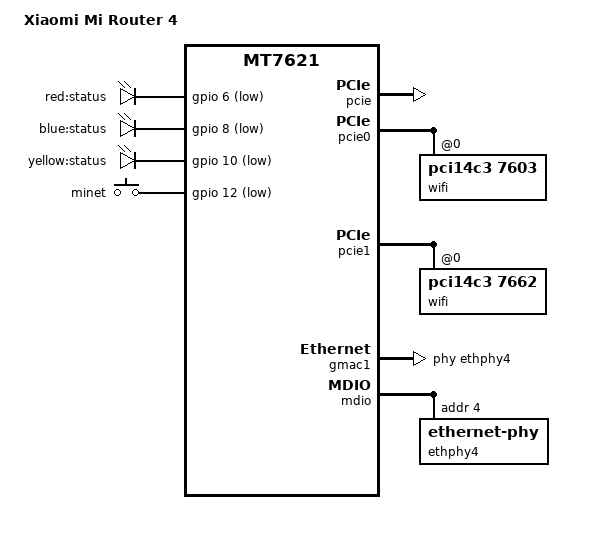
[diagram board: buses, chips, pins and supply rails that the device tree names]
// SPDX-License-Identifier: GPL-2.0-or-later OR MIT

#include "mt7621_xiaomi_nand_128m.dtsi"

/ {
	compatible = "xiaomi,mi-router-4", "mediatek,mt7621-soc";
	model = "Xiaomi Mi Router 4";

	aliases {
		led-boot = &led_status_yellow;
		led-failsafe = &led_status_red;
		led-running = &led_status_blue;
		led-upgrade = &led_status_yellow;
		label-mac-device = &gmac0;
	};

	leds {
		compatible = "gpio-leds";

		led_status_red: status_red {
			label = "red:status";
			gpios = <&gpio 6 GPIO_ACTIVE_LOW>;
		};

		led_status_blue: status_blue {
			label = "blue:status";
			gpios = <&gpio 8 GPIO_ACTIVE_LOW>;
		};

		led_status_yellow: status_yellow {
			label = "yellow:status";
			gpios = <&gpio 10 GPIO_ACTIVE_LOW>;
		};
	};
};

&keys {
	minet {
		label = "minet";
		gpios = <&gpio 12 GPIO_ACTIVE_LOW>;
		linux,code = <KEY_WPS_BUTTON>;
	};
};

&pcie {
	status = "okay";
};

&pcie0 {
	wifi@0,0 {
		compatible = "pci14c3,7603";
		reg = <0x0000 0 0 0 0>;
		mediatek,mtd-eeprom = <&factory 0x0000>;
		ieee80211-freq-limit = <2400000 2500000>;
	};
};

&pcie1 {
	wifi@0,0 {
		compatible = "pci14c3,7662";
		reg = <0x0000 0 0 0 0>;
		mediatek,mtd-eeprom = <&factory 0x8000>;
		ieee80211-freq-limit = <5000000 6000000>;
	};
};

&gmac0 {
	nvmem-cells = <&macaddr_factory_e000>;
	nvmem-cell-names = "mac-address";
};

&gmac1 {
	status = "okay";
	label = "wan";
	phy-handle = <&ethphy4>;

	nvmem-cells = <&macaddr_factory_e006>;
	nvmem-cell-names = "mac-address";
};

&mdio {
	ethphy4: ethernet-phy@4 {
		reg = <4>;
	};
};

&switch0 {
	ports {
		port@1 {
			status = "okay";
			label = "lan2";
		};

		port@2 {
			status = "okay";
			label = "lan1";
		};
	};
};

&state_default {
	gpio {
		groups = "jtag", "uart2", "uart3", "wdt";
		function = "gpio";
	};
};

&factory {
	compatible = "nvmem-cells";
	#address-cells = <1>;
	#size-cells = <1>;

	macaddr_factory_e000: macaddr@e000 {
		reg = <0xe000 0x6>;
	};

	macaddr_factory_e006: macaddr@e006 {
		reg = <0xe006 0x6>;
	};
};
